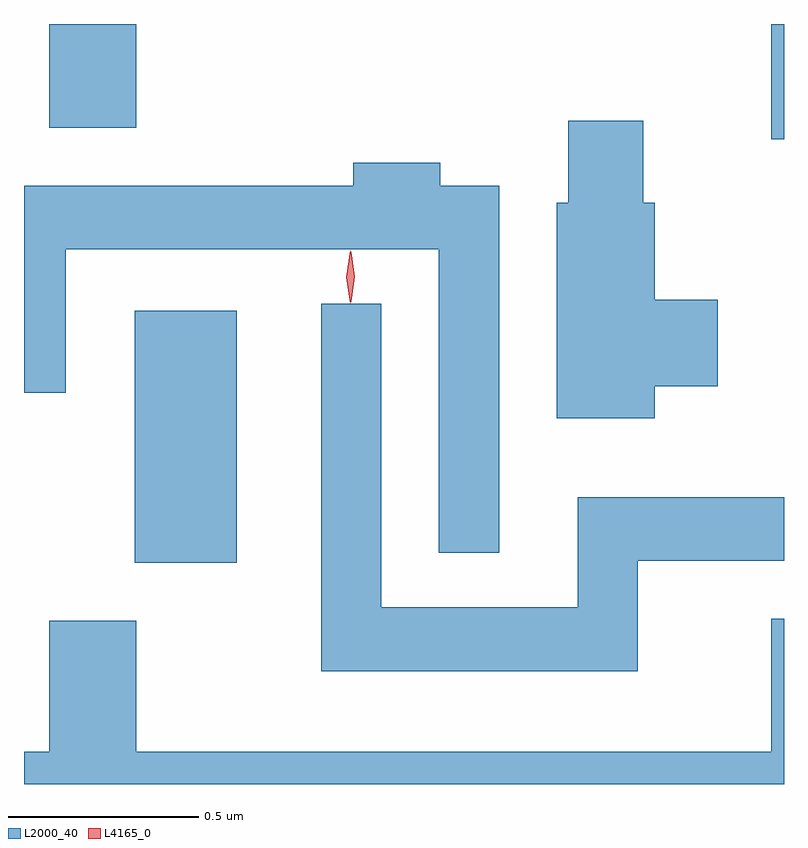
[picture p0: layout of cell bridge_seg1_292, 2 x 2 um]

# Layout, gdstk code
import gdstk
lib = gdstk.Library(unit=1e-6, precision=1e-09)
def R(c, l, rs):  # rectangles x0, y0, x1, y1
    for r in rs: c.add(gdstk.rectangle(r[:2], r[2:], *l))
def P(c, l, *ps):  # polygons
    for p in ps: c.add(gdstk.Polygon(p, *l))
L2000_40 = (2000, 40)
L4165_0 = (4165, 0)

bridge_seg1_292 = lib.new_cell('bridge_seg1_292')
R(bridge_seg1_292, L2000_40, [(838.346,902.561,838.614,903.224), (840.021,903.676,840.054,903.979), (838.121,903.706,838.349,903.979)])
P(bridge_seg1_292, L2000_40, [(839.714,903.026),(839.879,903.026),(839.879,903.254),(839.714,903.254),(839.714,903.509),(839.684,903.509),(839.684,903.724),(839.486,903.724),(839.486,903.509),(839.456,903.509),(839.456,902.941),(839.714,902.941)],
  [(839.304,903.554),(839.149,903.554),(839.149,903.614),(838.921,903.614),(838.921,903.554),(838.054,903.554),(838.054,903.008),(838.164,903.008),(838.164,903.386),(839.146,903.386),(839.146,902.588),(839.304,902.588)],
  [(839.669,902.566),(840.054,902.566),(840.054,902.734),(839.511,902.734),(839.511,902.444),(838.994,902.444),(838.994,903.243),(838.836,903.243),(838.836,902.276),(839.669,902.276)],
  [(840.054,902.414),(840.021,902.414),(840.021,902.064),(838.349,902.064),(838.349,902.409),(838.121,902.409),(838.121,902.064),(838.054,902.064),(838.054,901.979),(840.054,901.979)])
P(bridge_seg1_292, L4165_0, [(838.912,903.243),(838.912,903.244),(838.902,903.313),(838.912,903.382),(838.912,903.383),(838.913,903.382),(838.922,903.313),(838.913,903.244)],
  [(838.915,903.247),(838.914,903.248),(838.905,903.314),(838.914,903.38),(838.914,903.38),(838.915,903.38),(838.924,903.314),(838.915,903.248)])

lib.write_gds('bridge_seg1_292.gds')
